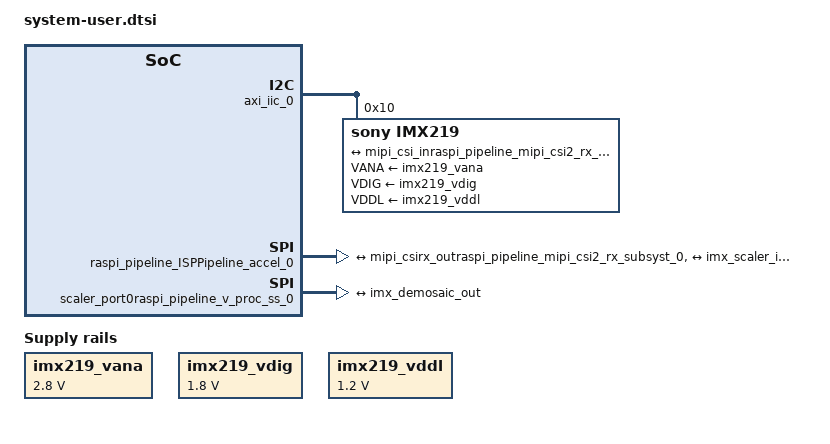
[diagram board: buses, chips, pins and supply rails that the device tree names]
/include/ "system-conf.dtsi"

/ {
	chosen {
		xlnx,eeprom = "/axi/i2c@ff030000/i2c-mux@74/i2c@0/eeprom@54";
		bootargs = " earlycon console=ttyPS0,115200 clk_ignore_unused init_fatal_sh=1 cma=1000M";
		stdout-path = "serial0:115200n8";
	};
};


&fpga_full {
	#address-cells = <2>;
	#size-cells = <2>;
	firmware-name = "system.bit.bin";
	resets = <&zynqmp_reset 116>, <&zynqmp_reset 117>, <&zynqmp_reset 118>, <&zynqmp_reset 119>;
};

&amba_pl {
	afi0: afi0 {
		compatible = "xlnx,afi-fpga";
		config-afi = <0 0>, <1 0>, <2 0>, <3 0>, <4 1>, <5 1>, <6 0>, <7 0>, <8 0>, <9 0>, <10 0>, <11 0>, <12 0>, <13 0>, <14 0x0>, <15 0x000>;
	};

	clocking0: clocking0 {
		#clock-cells = <0>;
		assigned-clock-rates = <99999001>;
		assigned-clocks = <&zynqmp_clk 71>;
		clock-output-names = "fabric_clk";
		clocks = <&zynqmp_clk 71>;
		compatible = "xlnx,fclk";
	};

	clocking1: clocking1 {
		#clock-cells = <0>;
		assigned-clock-rates = <99999001>;
		assigned-clocks = <&zynqmp_clk 72>;
		clock-output-names = "fabric_clk";
		clocks = <&zynqmp_clk 72>;
		compatible = "xlnx,fclk";
	};

	/* fpga clocks */
	misc_clk_5: misc_clk_5 {
		#clock-cells = <0x0>;
		clock-frequency = <49999500>;
		compatible = "fixed-clock";
	};

	misc_clk_7: misc_clk_7 {
		#clock-cells = <0x0>;
		clock-frequency = <24000000>;
		compatible = "fixed-clock";
	};


	imx219_vana: fixedregulator@3 {
		compatible = "regulator-fixed";
		regulator-name = "imx219_vana";
		regulator-min-microvolt = <2800000>;
		regulator-max-microvolt = <2800000>;
		enable-active-high;
	};

	imx219_vdig: fixedregulator@4 {
		compatible = "regulator-fixed";
		regulator-name = "imx219_vdig";
		regulator-min-microvolt = <1800000>;
		regulator-max-microvolt = <1800000>;
	};

	imx219_vddl: fixedregulator@5 {
		compatible = "regulator-fixed";
		regulator-name = "imx219_vddl";
		regulator-min-microvolt = <1200000>;
		regulator-max-microvolt = <1200000>;
	};
	
	/* zocl */
	zyxclmm_drm {
		compatible = "xlnx,zocl";
		status = "okay";
		interrupt-parent = <&gic>;
		interrupts = <0 89  4>, <0 90  4>, <0 91  4>, <0 92  4>,
			     <0 93  4>, <0 94  4>, <0 95  4>, <0 96  4>;
	};
};

&axi_iic_0 {
	imx219: sensor@10 {
		compatible = "sony,imx219";
		reg = <0x10>;
		clocks = <&misc_clk_7>;
		VANA-supply = <&imx219_vana>;   /* 2.8v */
		VDIG-supply = <&imx219_vdig>;   /* 1.8v */
		VDDL-supply = <&imx219_vddl>;   /* 1.2v */

		port {
		     imx219_0: endpoint {
			remote-endpoint = <&mipi_csi_inraspi_pipeline_mipi_csi2_rx_subsyst_0>;
			data-lanes = <1 2>;
			link-frequencies = /bits/ 64 <456000000>;
			};
		};
	};
};

&raspi_pipeline_mipi_csi2_rx_subsyst_0 {
	xlnx,en-active-lanes;
};

&mipi_csi_inraspi_pipeline_mipi_csi2_rx_subsyst_0 {
	remote-endpoint = <&imx219_0>;
};

&raspi_pipeline_ISPPipeline_accel_0 {
	compatible = "xlnx,ISPPipeline_accel";
	reset-gpios = <&gpio 82 1>;
	xlnx,max-height = <1080>;
	xlnx,max-width = <1920>;
	xlnx,rgain = <128>;
	xlnx,bgain = <210>;
	xlnx,pawb = <350>;
	xlnx,mode-reg = <1>;
	ports {
		#address-cells = <1>;
		#size-cells = <0>;
			port@0 {
			reg = <0>;
			xlnx,video-width = <10>;
			xlnx,cfa-pattern = "rggb";
				raspi_pipeline_ISPPipeline_accel_0raspi_pipeline_mipi_csi2_rx_subsyst_0: endpoint {
				remote-endpoint = <&mipi_csirx_outraspi_pipeline_mipi_csi2_rx_subsyst_0>;
			};
		};
			port@1 {
			reg = <1>;
			xlnx,video-width = <8>;
			xlnx,cfa-pattern = "rggb";
			
			imx_demosaic_out: endpoint {
				remote-endpoint = <&imx_scaler_in>;
			};
		};
	};
};

&raspi_pipeline_v_proc_ss_0 {
	compatible = "xlnx,v-vpss-scaler-2.2";
};

&scaler_port0raspi_pipeline_v_proc_ss_0 {
	imx_scaler_in: endpoint {
		remote-endpoint = <&imx_demosaic_out>;
	};
};

/* vcu encode/decode */
&vcu_vcu_0 {
	xlnx,skip-isolation;
};


